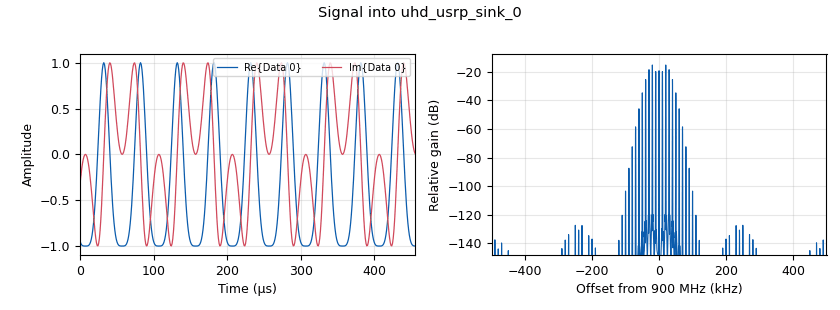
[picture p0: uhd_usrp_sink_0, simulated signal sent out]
options:
  parameters:
    author: ray
    generate_options: qt_gui
    id: b210test
    output_language: python
    title: Not titled yet
  states: {}

blocks:
- name: gain
  id: variable_qtgui_range
  parameters:
    start: '0'
    step: '1'
    stop: '30'
    value: '0'
  states: {}
- name: samp_rate
  id: variable
  parameters:
    value: 1e6
  states: {}
- name: analog_const_source_x_0
  id: analog_const_source_x
  parameters:
    const: '1'
    type: float
  states: {}
- name: analog_sig_source_x_0
  id: analog_sig_source_x
  parameters:
    amp: math.pi
    freq: 10e3
    offset: '0'
    phase: '0'
    samp_rate: samp_rate
    type: float
    waveform: analog.GR_COS_WAVE
  states: {}
- name: blocks_complex_to_magphase_0
  id: blocks_complex_to_magphase
  parameters: {}
  states: {}
- name: blocks_magphase_to_complex_0
  id: blocks_magphase_to_complex
  parameters: {}
  states: {}
- name: blocks_null_sink_0
  id: blocks_null_sink
  parameters:
    type: float
  states: {}
- name: import_0
  id: import
  parameters:
    imports: import math
  states: {}
- name: qtgui_time_sink_x_0
  id: qtgui_time_sink_x
  parameters:
    size: '4096'
    srate: samp_rate
    type: complex
  states: {}
- name: qtgui_time_sink_x_0_0
  id: qtgui_time_sink_x
  parameters:
    size: '4096'
    srate: samp_rate
    type: float
  states: {}
- name: uhd_usrp_sink_0
  id: uhd_usrp_sink
  parameters:
    ant0: '"TX/RX"'
    bw0: 2*samp_rate
    center_freq0: 900e6
    gain0: '0'
    samp_rate: samp_rate
    stream_chans: '[0]'
    sync: sync
    type: fc32
  states: {}
- name: uhd_usrp_source_0
  id: uhd_usrp_source
  parameters:
    ant0: '"RX2"'
    bw0: 2*samp_rate
    center_freq0: 900e6
    gain0: gain
    samp_rate: samp_rate
    stream_chans: '[0]'
    sync: sync
    type: fc32
  states: {}

connections:
- [analog_const_source_x_0, '0', blocks_magphase_to_complex_0, '0']
- [analog_sig_source_x_0, '0', blocks_magphase_to_complex_0, '1']
- [blocks_complex_to_magphase_0, '0', blocks_null_sink_0, '0']
- [blocks_complex_to_magphase_0, '1', qtgui_time_sink_x_0_0, '0']
- [blocks_magphase_to_complex_0, '0', uhd_usrp_sink_0, '0']
- [uhd_usrp_source_0, '0', blocks_complex_to_magphase_0, '0']
- [uhd_usrp_source_0, '0', qtgui_time_sink_x_0, '0']

metadata:
  file_format: 1
  grc_version: 3.10.12.0
